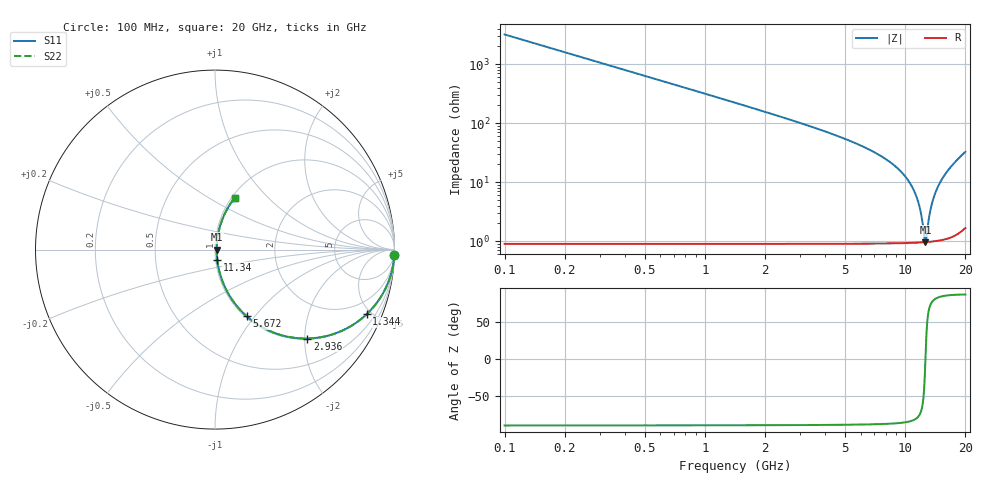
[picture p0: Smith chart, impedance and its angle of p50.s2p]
!Murata Part Number: GRM0335C1ER50WA01
!These Parameters are Measured in Series Mode Connection
!  o--ll--o
!Port1  Port2
!  o------o
!Operation Temp=25[degC], DC Bias Voltage=0[V]
!Freq. Start=100[MHz] Stop=20[GHz], 401[Steps]
!Data Generated on Jan 10, 2017
# Hz S RI R 50
!Freq.(Hz) S11(Real) S11(Imag) S21(Real) S21(Imag) S12(Real) S12(Imag) S22(Real) S22(Imag)
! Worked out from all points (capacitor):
!   401 points, 100 MHz to 20 GHz, reference 50 ohm
!   read as one part in series: C = 500 fF near 199.5 MHz
!   lowest |Z| = 967 mohm at 12.64 GHz (marker M1)
!   series resonance near 12.63 GHz, so ESL is about 320 pH
!   S11 on the Smith chart (normalised r, x): 100 MHz: 1, -64; 1.344 GHz: 1.02, -4.69; 2.936 GHz: 1.02, -2.06; 5.672 GHz: 1.02, -0.91; 11.34 GHz: 1.02, -0.12; 20 GHz: 1.03, +0.65
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1e8  0.999 -0.0314  0.000995 0.0314  0.000995 0.0314  0.999 -0.0314
2.99e8  0.9912 -0.0931  0.00883 0.0931  0.00883 0.0931  0.9912 -0.0931
5.4775e8  0.9709 -0.1673  0.0291 0.1673  0.0291 0.1673  0.9709 -0.1673
8.96e8  0.9254 -0.2615  0.0746 0.2615  0.0746 0.2615  0.9254 -0.2615
1.34375e9  0.8451 -0.3599  0.1549 0.3599  0.1549 0.3599  0.8451 -0.3599
2.09e9  0.6869 -0.4607  0.3131 0.4607  0.3131 0.4607  0.6869 -0.4607
2.93575e9  0.5148 -0.4954  0.4852 0.4954  0.4852 0.4954  0.5148 -0.4954
3.43325e9  0.4282 -0.4896  0.5718 0.4896  0.5718 0.4896  0.4282 -0.4896
5.672e9  0.1769 -0.3718  0.8231 0.3718  0.8231 0.3718  0.1769 -0.3718
6.7665e9  0.1121 -0.3025  0.8879 0.3025  0.8879 0.3025  0.1121 -0.3025
1.005e10  0.0238 -0.1191  0.9762 0.1191  0.9762 0.1191  0.0238 -0.1191
1.13435e10  0.0127 -0.0573  0.9873 0.0573  0.9873 0.0573  0.0127 -0.0573
1.19405e10  0.0104 -0.0303  0.9896 0.0303  0.9896 0.0303  0.0104 -0.0303
1.248775e10  0.00958 -0.00621  0.9904 0.00621  0.9904 0.00621  0.00958 -0.00621
1.2637e10  0.00957 0.000242  0.9904 -0.000242  0.9904 -0.000242  0.00957 0.000242
1.27365e10  0.00961 0.00452  0.9904 -0.00452  0.9904 -0.00452  0.00961 0.00452
1.308475e10  0.01 0.0193  0.99 -0.0193  0.99 -0.0193  0.01 0.0193
1.338325e10  0.0108 0.0319  0.9892 -0.0319  0.9892 -0.0319  0.0108 0.0319
1.39305e10  0.0129 0.0545  0.9871 -0.0545  0.9871 -0.0545  0.0129 0.0545
1.4627e10  0.0171 0.0827  0.9829 -0.0827  0.9829 -0.0827  0.0171 0.0827
1.67165e10  0.0394 0.1645  0.9606 -0.1645  0.9606 -0.1645  0.0394 0.1645
2e10  0.1088 0.2868  0.8912 -0.2868  0.8912 -0.2868  0.1088 0.2868
